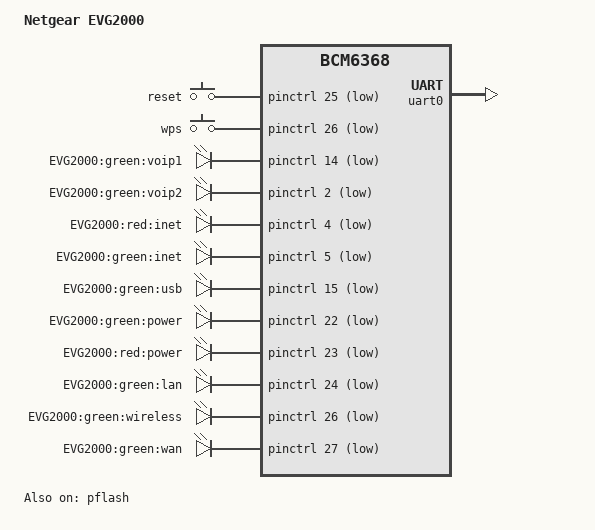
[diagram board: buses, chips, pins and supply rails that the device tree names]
/dts-v1/;

#include "bcm6368.dtsi"

#include <dt-bindings/input/input.h>

/ {
	model = "Netgear EVG2000";
	compatible = "netgear,evg2000", "brcm,bcm6368";

	chosen {
		bootargs = "rootfstype=squashfs,jffs2 noinitrd console=ttyS0,115200";
		stdout-path = "serial0:115200n8";
	};

	keys {
		compatible = "gpio-keys-polled";
		#address-cells = <1>;
		#size-cells = <0>;
		poll-interval = <20>;

		reset {
			label = "reset";
			gpios = <&pinctrl 25 1>;
			linux,code = <KEY_RESTART>;
			debounce-interval = <60>;
		};

		wps {
			label = "wps";
			gpios = <&pinctrl 26 1>;
			linux,code = <KEY_WPS_BUTTON>;
			debounce-interval = <60>;
		};
	};

	leds {
		compatible = "gpio-leds";

		voip1_green {
			label = "EVG2000:green:voip1";
			gpios = <&pinctrl 14 1>;
		};
		voip2_green {
			label = "EVG2000:green:voip2";
			gpios = <&pinctrl 2 1>;
		};
		inet_red {
			label = "EVG2000:red:inet";
			gpios = <&pinctrl 4 1>;
		};
		inet_green {
			label = "EVG2000:green:inet";
			gpios = <&pinctrl 5 1>;
		};
		usb_green {
			label = "EVG2000:green:usb";
			gpios = <&pinctrl 15 1>;
		};
		power_green {
			label = "EVG2000:green:power";
			gpios = <&pinctrl 22 1>;
			default-state = "on";
		};
		power_red {
			label = "EVG2000:red:power";
			gpios = <&pinctrl 23 1>;
		};
		lan_green {
			label = "EVG2000:green:lan";
			gpios = <&pinctrl 24 1>;
		};
		wireless_green {
			label = "EVG2000:green:wireless";
			gpios = <&pinctrl 26 1>;
		};
		wan_green {
			label = "EVG2000:green:wan";
			gpios = <&pinctrl 27 1>;
		};
	};
};

&pflash {
	status = "ok";

	partitions {
		compatible = "fixed-partitions";
		#address-cells = <1>;
		#size-cells = <1>;

		cfe@0 {
			label = "CFE";
			reg = <0x00000000 0x00020000>;
			read-only;
		};

		linux@20000 {
			label = "linux";
			reg = <0x00020000 0x00f40000>;
			compatible = "brcm,bcm963xx-imagetag";
		};

		board_data@f60000 {
			label = "board_data";
			reg = <0x00f60000 0x00080000>;
			read-only;
		};

		nvram@fe0000 {
			label = "nvram";
			reg = <0x00fe0000 0x00020000>;
		};
	};
};

&pinctrl {
	pinctrl-names = "default";
	pinctrl-0 = <&pinctrl_pci>;
};

&uart0 {
	status = "ok";
};
